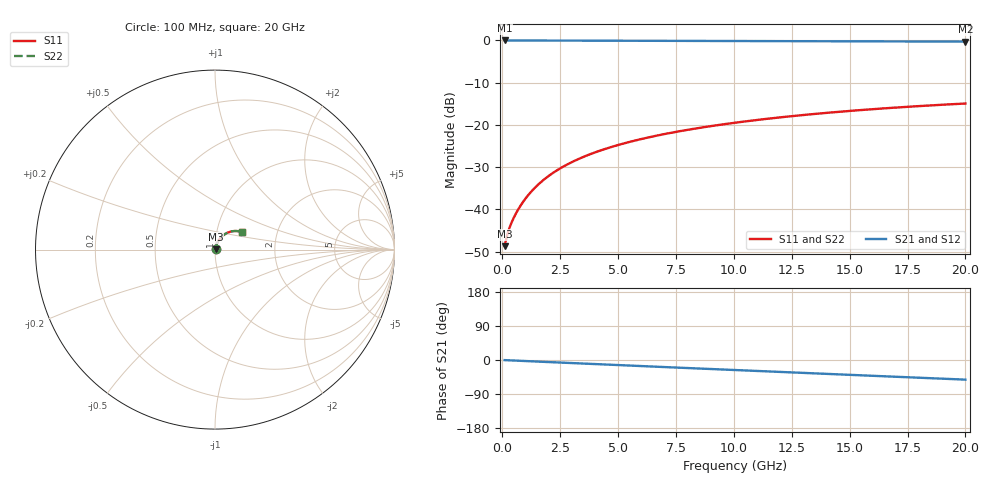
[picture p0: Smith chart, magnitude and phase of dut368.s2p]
! Touchstone file exported from HFSS 2026.1.0
!  File:  C:/ffzhzh/LocalFiles/Ansys_Project_Files/temp_train_BSMRDL_368_1783011743_51716.aedt
!  Generated:  01:03:52 AM Jul  3, 2026
!  Design:  BSMRDL
!  Project:  temp_train_BSMRDL_368_1783011743_51716
! Variables:
!  h_bsmrdl = 4.37um
!  h_ox = 20um
!  h_rdl = 5um
!  h_sub = 80um
!  h_tmrdl = 5um
!  h_tsv = 80um
!  h_via = 3um
!  l_bsmrdl = 904.13um
!  l_sub = 1304.13um
!  l_tmrdl = 200um
!  m_sub = 200um
!  pitch = 34.65um
!  r_tsv = 6um
!  s_tmrdl = 10um
!  w_bsmrdl = 25.13um
!  w_sub = 500um
!  w_tmrdl = 12um
!  x_tsv_center1 = 206um
!  x_tsv_center2 = 1135.26um
!  x_tsv_center3 = 1347.26um
!  x_tsv_center4 = 2276.52um
!  x_tsv_center5 = 2488.52um
!  x_tsv_center6 = 3417.78um
# GHz S MA R 50.000000
! Terminal data exported
! Port[1] = BSM_RDL1_1_T1
! Port[2] = BSM_RDL1_1_T2
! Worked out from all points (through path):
!   200 points, 100 MHz to 20 GHz, reference 50 ohm
!   highest |S21| = -0.03 dB at 100 MHz (marker M1); lowest = -0.3 dB at 20 GHz (marker M2)
!   group delay of S21, straight-line fit = 7.17 ps
!   lowest |S11| = -48.7 dB at 100 MHz (marker M3), VSWR 1.01, Z = 50.3 + j0.175 ohm
!   |S11| at or under -10 dB: start of sweep to end of sweep
!   |S22| runs from -48.7 to -15.0 dB; largest |S21 - S12| = 1.3e-14
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0.1  0.003666 28.3  0.9968 -0.3  0.9968 -0.3  0.003666 28.3
! Gamma 0 0 0 0
! Port Impedance 50 0 50 0
0.2  0.004832 41.0  0.9964 -0.6  0.9964 -0.6  0.004832 41.0
0.3  0.005942 47.5  0.996 -0.9  0.996 -0.9  0.005942 47.5
0.4  0.006983 52.2  0.9958 -1.1  0.9958 -1.1  0.006983 52.2
0.5  0.008008 55.9  0.9956 -1.4  0.9956 -1.4  0.008008 55.9
0.8  0.01118 63.4  0.9953 -2.2  0.9953 -2.2  0.01118 63.4
1  0.01339 66.4  0.9952 -2.7  0.9952 -2.7  0.01339 66.4
1.2  0.01564 68.5  0.995 -3.3  0.995 -3.3  0.01564 68.5
1.4  0.01792 69.8  0.9948 -3.8  0.9948 -3.8  0.01792 69.8
1.7  0.02136 71.1  0.9945 -4.6  0.9945 -4.6  0.02136 71.1
2.2  0.02711 71.8  0.9939 -6.0  0.9939 -6.0  0.02711 71.8
2.8  0.03393 71.7  0.9931 -7.6  0.9931 -7.6  0.03393 71.7
3.5  0.04171 70.7  0.992 -9.4  0.992 -9.4  0.04171 70.8
4.2  0.0493 69.5  0.9909 -11.3  0.9909 -11.3  0.0493 69.5
5  0.05772 67.8  0.9895 -13.4  0.9895 -13.4  0.05772 67.8
5.9  0.0669 65.8  0.988 -15.8  0.988 -15.8  0.0669 65.9
6.8  0.0758 63.8  0.9865 -18.1  0.9865 -18.1  0.0758 63.9
8.3  0.09007 60.4  0.984 -22.0  0.984 -22.0  0.09008 60.5
10.1  0.1064 56.3  0.981 -26.6  0.981 -26.6  0.1064 56.3
13.4  0.1339 48.6  0.9758 -35.1  0.9758 -35.1  0.1339 48.7
16.7  0.1581 40.8  0.9708 -43.5  0.9708 -43.5  0.1582 40.9
20  0.1787 33.0  0.9661 -51.8  0.9661 -51.8  0.1788 33.1
